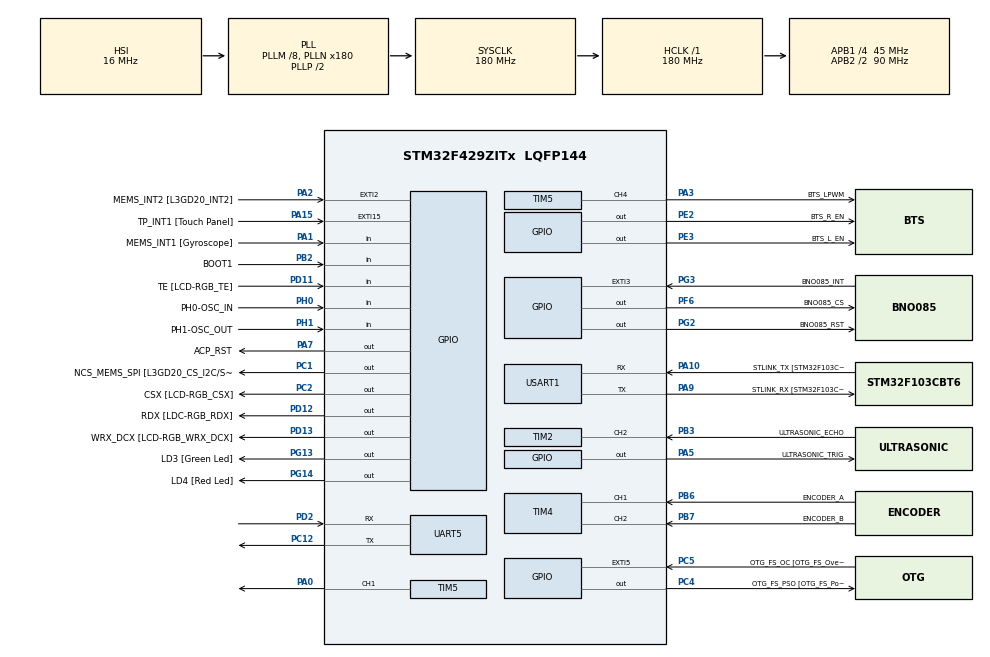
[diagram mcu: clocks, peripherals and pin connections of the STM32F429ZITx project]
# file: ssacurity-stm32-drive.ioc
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ADC1.Channel-13\#ChannelRegularConversion=ADC_CHANNEL_13
ADC1.ClockPrescaler=ADC_CLOCK_SYNC_PCLK_DIV4
ADC1.NbrOfConversionFlag=1
ADC1.Rank-13\#ChannelRegularConversion=1
ADC1.SamplingTime-13\#ChannelRegularConversion=ADC_SAMPLETIME_144CYCLES
Dma.Request0=USART1_TX
Dma.Request1=USART1_RX
Dma.Request2=UART5_RX
Dma.Request3=UART5_TX
Dma.UART5_RX.2.Direction=DMA_PERIPH_TO_MEMORY
Dma.UART5_RX.2.FIFOMode=DMA_FIFOMODE_DISABLE
Dma.UART5_RX.2.Instance=DMA1_Stream0
Dma.UART5_RX.2.MemDataAlignment=DMA_MDATAALIGN_BYTE
Dma.UART5_RX.2.MemInc=DMA_MINC_ENABLE
Dma.UART5_RX.2.Mode=DMA_CIRCULAR
Dma.UART5_RX.2.PeriphDataAlignment=DMA_PDATAALIGN_BYTE
Dma.UART5_RX.2.PeriphInc=DMA_PINC_DISABLE
Dma.UART5_RX.2.Priority=DMA_PRIORITY_LOW
Dma.UART5_TX.3.Direction=DMA_MEMORY_TO_PERIPH
Dma.UART5_TX.3.FIFOMode=DMA_FIFOMODE_DISABLE
Dma.UART5_TX.3.Instance=DMA1_Stream7
Dma.UART5_TX.3.MemDataAlignment=DMA_MDATAALIGN_BYTE
Dma.UART5_TX.3.MemInc=DMA_MINC_ENABLE
Dma.UART5_TX.3.Mode=DMA_NORMAL
Dma.UART5_TX.3.PeriphDataAlignment=DMA_PDATAALIGN_BYTE
Dma.UART5_TX.3.PeriphInc=DMA_PINC_DISABLE
Dma.UART5_TX.3.Priority=DMA_PRIORITY_LOW
Dma.USART1_RX.1.Direction=DMA_PERIPH_TO_MEMORY
Dma.USART1_RX.1.FIFOMode=DMA_FIFOMODE_DISABLE
Dma.USART1_RX.1.Instance=DMA2_Stream2
Dma.USART1_RX.1.MemDataAlignment=DMA_MDATAALIGN_BYTE
Dma.USART1_RX.1.MemInc=DMA_MINC_ENABLE
Dma.USART1_RX.1.Mode=DMA_CIRCULAR
Dma.USART1_RX.1.PeriphDataAlignment=DMA_PDATAALIGN_BYTE
Dma.USART1_RX.1.PeriphInc=DMA_PINC_DISABLE
Dma.USART1_RX.1.Priority=DMA_PRIORITY_LOW
Dma.USART1_TX.0.Direction=DMA_MEMORY_TO_PERIPH
Dma.USART1_TX.0.FIFOMode=DMA_FIFOMODE_DISABLE
Dma.USART1_TX.0.Instance=DMA2_Stream7
Dma.USART1_TX.0.MemDataAlignment=DMA_MDATAALIGN_BYTE
Dma.USART1_TX.0.MemInc=DMA_MINC_ENABLE
Dma.USART1_TX.0.Mode=DMA_NORMAL
Dma.USART1_TX.0.PeriphDataAlignment=DMA_PDATAALIGN_BYTE
Dma.USART1_TX.0.PeriphInc=DMA_PINC_DISABLE
Dma.USART1_TX.0.Priority=DMA_PRIORITY_LOW
FREERTOS.Tasks01=defaultTask,24,128,StartDefaultTask,Default,NULL,Dynamic,NULL,NULL
Mcu.Family=STM32F4
Mcu.Name=STM32F429ZITx
Mcu.Package=LQFP144
NVIC.DMA1_Stream0_IRQn=true\:5\:0\:false\:false\:true\:true\:false\:true\:true
NVIC.DMA1_Stream7_IRQn=true\:5\:0\:false\:false\:true\:true\:false\:true\:true
NVIC.DMA2_Stream2_IRQn=true\:5\:0\:false\:false\:true\:true\:false\:true\:true
NVIC.DMA2_Stream7_IRQn=true\:5\:0\:false\:false\:true\:true\:false\:true\:true
NVIC.EXTI3_IRQn=true\:6\:0\:false\:false\:true\:true\:true\:true\:true
NVIC.PriorityGroup=NVIC_PRIORITYGROUP_4
NVIC.TIM2_IRQn=true\:6\:0\:false\:false\:true\:true\:true\:true\:true
NVIC.TIM6_DAC_IRQn=true\:15\:0\:false\:false\:true\:false\:false\:true\:true
NVIC.TimeBase=TIM6_DAC_IRQn
NVIC.TimeBaseIP=TIM6
NVIC.UART5_IRQn=true\:5\:0\:false\:false\:true\:true\:true\:true\:true
NVIC.USART1_IRQn=true\:5\:0\:false\:false\:true\:true\:true\:true\:true
PA0/WKUP.Signal=S_TIM5_CH1
PA1.GPIO_Label=MEMS_INT1 [Gyroscope]
PA1.Signal=GPIO_Input
PA10.GPIO_Label=STLINK_TX [STM32F103CBT6_PA2]
PA10.Mode=Asynchronous
PA10.Signal=USART1_RX
PA11.GPIO_Label=R4
PA11.GPIO_Mode=GPIO_MODE_AF_PP
PA11.GPIO_PuPd=GPIO_NOPULL
PA11.GPIO_Speed=GPIO_SPEED_FREQ_LOW
PA11.Signal=LTDC_R4
PA12.GPIO_Label=R5
PA12.GPIO_Mode=GPIO_MODE_AF_PP
PA12.GPIO_PuPd=GPIO_NOPULL
PA12.GPIO_Speed=GPIO_SPEED_FREQ_LOW
PA12.Signal=LTDC_R5
PA13.GPIO_Label=SWDIO
PA13.Mode=Serial_Wire
PA13.Signal=SYS_JTMS-SWDIO
PA14.GPIO_Label=SWCLK
PA14.Mode=Serial_Wire
PA14.Signal=SYS_JTCK-SWCLK
PA15.GPIO_Label=TP_INT1 [Touch Panel]
PA15.GPIO_ModeDefaultEXTI=GPIO_MODE_EVT_RISING
PA15.GPIO_PuPd=GPIO_NOPULL
PA15.Signal=GPXTI15
PA2.GPIO_Label=MEMS_INT2 [L3GD20_INT2]
PA2.GPIO_ModeDefaultEXTI=GPIO_MODE_EVT_RISING
PA2.GPIO_PuPd=GPIO_NOPULL
PA2.Signal=GPXTI2
PA3.GPIO_Label=BTS_LPWM
PA3.Signal=S_TIM5_CH4
PA5.GPIO_Label=ULTRASONIC_TRIG
PA5.GPIO_Mode=GPIO_MODE_OUTPUT_PP
PA5.GPIO_PuPd=GPIO_NOPULL
PA5.GPIO_Speed=GPIO_SPEED_FREQ_LOW
PA5.Signal=GPIO_Output
PA4.GPIO_Label=VSYNC
PA4.GPIO_Mode=GPIO_MODE_AF_PP
PA4.GPIO_PuPd=GPIO_NOPULL
PA4.GPIO_Speed=GPIO_SPEED_FREQ_LOW
PA4.Signal=LTDC_VSYNC
PA7.GPIO_Label=ACP_RST
PA7.GPIO_Mode=GPIO_MODE_OUTPUT_PP
PA7.GPIO_PuPd=GPIO_NOPULL
PA7.GPIO_Speed=GPIO_SPEED_FREQ_LOW
PA7.Signal=GPIO_Output
PA8.GPIO_Label=I2C3_SCL [ACP/RF_SCL]
PA8.GPIO_Mode=GPIO_MODE_AF_OD
PA8.GPIO_PuPd=GPIO_NOPULL
PA8.GPIO_Speed=GPIO_SPEED_FREQ_LOW
PA8.Signal=I2C3_SCL
PA9.GPIO_Label=STLINK_RX [STM32F103CBT6_PA3]
PA9.Mode=Asynchronous
PA9.Signal=USART1_TX
PB0.GPIO_Label=R3
PB0.GPIO_Mode=GPIO_MODE_AF_PP
PB0.GPIO_PuPd=GPIO_NOPULL
PB0.GPIO_Speed=GPIO_SPEED_FREQ_LOW
PB0.Signal=LTDC_R3
PB1.GPIO_Label=R6
PB1.GPIO_Mode=GPIO_MODE_AF_PP
PB1.GPIO_PuPd=GPIO_NOPULL
PB1.GPIO_Speed=GPIO_SPEED_FREQ_LOW
PB1.Signal=LTDC_R6
PB10.GPIO_Label=G4
PB10.GPIO_Mode=GPIO_MODE_AF_PP
PB10.GPIO_PuPd=GPIO_NOPULL
PB10.GPIO_Speed=GPIO_SPEED_FREQ_LOW
PB10.Signal=LTDC_G4
PB11.GPIO_Label=G5
PB11.GPIO_Mode=GPIO_MODE_AF_PP
PB11.GPIO_PuPd=GPIO_NOPULL
PB11.GPIO_Speed=GPIO_SPEED_FREQ_LOW
PB11.Signal=LTDC_G5
PB12.GPIO_Label=OTG_HS_ID
PB12.GPIO_Mode=GPIO_MODE_AF_PP
PB12.GPIO_PuPd=GPIO_NOPULL
PB12.GPIO_Speed=GPIO_SPEED_FREQ_LOW
PB12.Signal=USB_OTG_HS_ID
PB13.GPIO_Label=VBUS_HS
PB13.GPIO_Mode=GPIO_MODE_INPUT
PB13.GPIO_PuPd=GPIO_NOPULL
PB13.Signal=USB_OTG_HS_VBUS
PB14.GPIO_Label=OTG_HS_DM
PB14.GPIO_Mode=GPIO_MODE_AF_PP
PB14.GPIO_PuPd=GPIO_NOPULL
PB14.GPIO_Speed=GPIO_SPEED_FREQ_LOW
PB14.Signal=USB_OTG_HS_DM
PB15.GPIO_Label=OTG_HS_DP
PB15.GPIO_Mode=GPIO_MODE_AF_PP
PB15.GPIO_PuPd=GPIO_NOPULL
PB15.GPIO_Speed=GPIO_SPEED_FREQ_LOW
PB15.Signal=USB_OTG_HS_DP
PB2/BOOT1.GPIO_Label=BOOT1
PB2/BOOT1.GPIO_Mode=GPIO_MODE_INPUT
PB2/BOOT1.GPIO_PuPd=GPIO_NOPULL
PB2/BOOT1.Signal=GPIO_Input
PB3.GPIO_Label=ULTRASONIC_ECHO
PB3.GPIO_PuPd=GPIO_NOPULL
PB3.Signal=S_TIM2_CH2
PB4.Signal=S_TIM3_CH1
PB5.GPIO_Label=SDCKE1
PB5.GPIO_Mode=GPIO_MODE_AF_PP
PB5.GPIO_PuPd=GPIO_NOPULL
PB5.GPIO_Speed=GPIO_SPEED_FREQ_VERY_HIGH
PB5.Signal=FMC_SDCKE1
PB6.GPIO_Label=ENCODER_A
PB6.Signal=S_TIM4_CH1
PB7.GPIO_Label=ENCODER_B
PB7.Signal=S_TIM4_CH2
PB8.GPIO_Label=B6
PB8.GPIO_Mode=GPIO_MODE_AF_PP
PB8.GPIO_PuPd=GPIO_NOPULL
PB8.GPIO_Speed=GPIO_SPEED_FREQ_LOW
PB8.Signal=LTDC_B6
PB9.GPIO_Label=B7
PB9.GPIO_Mode=GPIO_MODE_AF_PP
PB9.GPIO_PuPd=GPIO_NOPULL
PB9.GPIO_Speed=GPIO_SPEED_FREQ_LOW
PB9.Signal=LTDC_B7
PC0.GPIO_Label=SDNWE
PC0.GPIO_Mode=GPIO_MODE_AF_PP
PC0.GPIO_PuPd=GPIO_NOPULL
PC0.GPIO_Speed=GPIO_SPEED_FREQ_VERY_HIGH
PC0.Signal=FMC_SDNWE
PC1.GPIO_Label=NCS_MEMS_SPI [L3GD20_CS_I2C/SPI]
PC1.GPIO_Mode=GPIO_MODE_OUTPUT_PP
PC1.GPIO_PuPd=GPIO_NOPULL
PC1.GPIO_Speed=GPIO_SPEED_FREQ_LOW
PC1.Signal=GPIO_Output
PC10.GPIO_Label=R2
PC10.GPIO_Mode=GPIO_MODE_AF_PP
PC10.GPIO_PuPd=GPIO_NOPULL
PC10.GPIO_Speed=GPIO_SPEED_FREQ_LOW
PC10.Signal=LTDC_R2
PC12.Mode=Asynchronous
PC12.Signal=UART5_TX
PC14/OSC32_IN.GPIO_Label=PC14-OSC32_IN
PC14/OSC32_IN.Signal=RCC_OSC32_IN
PC15/OSC32_OUT.GPIO_Label=PC15-OSC32_OUT
PC15/OSC32_OUT.Signal=RCC_OSC32_OUT
PC2.GPIO_Label=CSX [LCD-RGB_CSX]
PC2.GPIO_Mode=GPIO_MODE_OUTPUT_PP
PC2.GPIO_PuPd=GPIO_NOPULL
PC2.GPIO_Speed=GPIO_SPEED_FREQ_LOW
PC2.Signal=GPIO_Output
PC3.GPIO_Label=STEERING_ANGLE
PC3.Signal=ADCx_IN13
PC4.GPIO_Label=OTG_FS_PSO [OTG_FS_PowerSwitchOn]
PC4.GPIO_Mode=GPIO_MODE_OUTPUT_PP
PC4.GPIO_PuPd=GPIO_NOPULL
PC4.GPIO_Speed=GPIO_SPEED_FREQ_LOW
PC4.Signal=GPIO_Output
PC5.GPIO_Label=OTG_FS_OC [OTG_FS_OverCurrent]
PC5.GPIO_ModeDefaultEXTI=GPIO_MODE_EVT_RISING
PC5.Signal=GPXTI5
PC6.GPIO_Label=HSYNC
PC6.GPIO_Mode=GPIO_MODE_AF_PP
PC6.GPIO_PuPd=GPIO_NOPULL
PC6.GPIO_Speed=GPIO_SPEED_FREQ_LOW
PC6.Signal=LTDC_HSYNC
PC7.GPIO_Label=G6
PC7.GPIO_Mode=GPIO_MODE_AF_PP
PC7.GPIO_PuPd=GPIO_NOPULL
PC7.GPIO_Speed=GPIO_SPEED_FREQ_LOW
PC7.Signal=LTDC_G6
PC9.GPIO_Label=I2C3_SDA [ACP/RF_SDA]
PC9.GPIO_Mode=GPIO_MODE_AF_OD
PC9.GPIO_PuPd=GPIO_NOPULL
PC9.GPIO_Speed=GPIO_SPEED_FREQ_LOW
PC9.Signal=I2C3_SDA
PD0.GPIO_Label=D2
PD0.GPIO_Mode=GPIO_MODE_AF_PP
PD0.GPIO_PuPd=GPIO_NOPULL
PD0.GPIO_Speed=GPIO_SPEED_FREQ_VERY_HIGH
PD0.Signal=FMC_D2_DA2
PD1.GPIO_Label=D3
PD1.GPIO_Mode=GPIO_MODE_AF_PP
PD1.GPIO_PuPd=GPIO_NOPULL
PD1.GPIO_Speed=GPIO_SPEED_FREQ_VERY_HIGH
PD1.Signal=FMC_D3_DA3
PD10.GPIO_Label=D15
PD10.GPIO_Mode=GPIO_MODE_AF_PP
PD10.GPIO_PuPd=GPIO_NOPULL
PD10.GPIO_Speed=GPIO_SPEED_FREQ_VERY_HIGH
PD10.Signal=FMC_D15_DA15
PD11.GPIO_Label=TE [LCD-RGB_TE]
PD11.GPIO_Mode=GPIO_MODE_INPUT
PD11.GPIO_PuPd=GPIO_NOPULL
PD11.Signal=GPIO_Input
PD12.GPIO_Label=RDX [LDC-RGB_RDX]
PD12.GPIO_Mode=GPIO_MODE_OUTPUT_PP
PD12.GPIO_PuPd=GPIO_NOPULL
PD12.GPIO_Speed=GPIO_SPEED_FREQ_LOW
PD12.Signal=GPIO_Output
PD13.GPIO_Label=WRX_DCX [LCD-RGB_WRX_DCX]
PD13.GPIO_Mode=GPIO_MODE_OUTPUT_PP
PD13.GPIO_PuPd=GPIO_NOPULL
PD13.GPIO_Speed=GPIO_SPEED_FREQ_LOW
PD13.Signal=GPIO_Output
PD14.GPIO_Label=D0
PD14.GPIO_Mode=GPIO_MODE_AF_PP
PD14.GPIO_PuPd=GPIO_NOPULL
PD14.GPIO_Speed=GPIO_SPEED_FREQ_VERY_HIGH
PD14.Signal=FMC_D0_DA0
PD15.GPIO_Label=D1
PD15.GPIO_Mode=GPIO_MODE_AF_PP
PD15.GPIO_PuPd=GPIO_NOPULL
PD15.GPIO_Speed=GPIO_SPEED_FREQ_VERY_HIGH
PD15.Signal=FMC_D1_DA1
PD2.Mode=Asynchronous
PD2.Signal=UART5_RX
PD3.GPIO_Label=G7
PD3.GPIO_Mode=GPIO_MODE_AF_PP
PD3.GPIO_PuPd=GPIO_NOPULL
PD3.GPIO_Speed=GPIO_SPEED_FREQ_LOW
PD3.Signal=LTDC_G7
PD6.GPIO_Label=B2
PD6.GPIO_Mode=GPIO_MODE_AF_PP
PD6.GPIO_PuPd=GPIO_NOPULL
PD6.GPIO_Speed=GPIO_SPEED_FREQ_LOW
PD6.Signal=LTDC_B2
PD8.GPIO_Label=D13
PD8.GPIO_Mode=GPIO_MODE_AF_PP
PD8.GPIO_PuPd=GPIO_NOPULL
PD8.GPIO_Speed=GPIO_SPEED_FREQ_VERY_HIGH
PD8.Signal=FMC_D13_DA13
PD9.GPIO_Label=D14
PD9.GPIO_Mode=GPIO_MODE_AF_PP
PD9.GPIO_PuPd=GPIO_NOPULL
PD9.GPIO_Speed=GPIO_SPEED_FREQ_VERY_HIGH
PD9.Signal=FMC_D14_DA14
PE0.GPIO_Label=NBL0 [SDRAM_LDQM]
PE0.GPIO_Mode=GPIO_MODE_AF_PP
PE0.GPIO_PuPd=GPIO_NOPULL
PE0.GPIO_Speed=GPIO_SPEED_FREQ_VERY_HIGH
PE0.Signal=FMC_NBL0
PE1.GPIO_Label=NBL1 [SDRAM_UDQM]
PE1.GPIO_Mode=GPIO_MODE_AF_PP
PE1.GPIO_PuPd=GPIO_NOPULL
PE1.GPIO_Speed=GPIO_SPEED_FREQ_VERY_HIGH
PE1.Signal=FMC_NBL1
PE2.GPIO_Label=BTS_R_EN
PE2.GPIO_Mode=GPIO_MODE_OUTPUT_PP
PE2.GPIO_PuPd=GPIO_NOPULL
PE2.GPIO_Speed=GPIO_SPEED_FREQ_LOW
PE2.Signal=GPIO_Output
PE3.GPIO_Label=BTS_L_EN
PE3.GPIO_Mode=GPIO_MODE_OUTPUT_PP
PE3.GPIO_PuPd=GPIO_NOPULL
PE3.GPIO_Speed=GPIO_SPEED_FREQ_LOW
PE3.Signal=GPIO_Output
PE10.GPIO_Label=D7
PE10.GPIO_Mode=GPIO_MODE_AF_PP
PE10.GPIO_PuPd=GPIO_NOPULL
PE10.GPIO_Speed=GPIO_SPEED_FREQ_VERY_HIGH
PE10.Signal=FMC_D7_DA7
PE11.GPIO_Label=D8
PE11.GPIO_Mode=GPIO_MODE_AF_PP
PE11.GPIO_PuPd=GPIO_NOPULL
PE11.GPIO_Speed=GPIO_SPEED_FREQ_VERY_HIGH
PE11.Signal=FMC_D8_DA8
PE12.GPIO_Label=D9
PE12.GPIO_Mode=GPIO_MODE_AF_PP
PE12.GPIO_PuPd=GPIO_NOPULL
PE12.GPIO_Speed=GPIO_SPEED_FREQ_VERY_HIGH
PE12.Signal=FMC_D9_DA9
PE13.GPIO_Label=D10
PE13.GPIO_Mode=GPIO_MODE_AF_PP
PE13.GPIO_PuPd=GPIO_NOPULL
PE13.GPIO_Speed=GPIO_SPEED_FREQ_VERY_HIGH
PE13.Signal=FMC_D10_DA10
PE14.GPIO_Label=D11
PE14.GPIO_Mode=GPIO_MODE_AF_PP
PE14.GPIO_PuPd=GPIO_NOPULL
PE14.GPIO_Speed=GPIO_SPEED_FREQ_VERY_HIGH
PE14.Signal=FMC_D11_DA11
PE15.GPIO_Label=D12
PE15.GPIO_Mode=GPIO_MODE_AF_PP
PE15.GPIO_PuPd=GPIO_NOPULL
PE15.GPIO_Speed=GPIO_SPEED_FREQ_VERY_HIGH
PE15.Signal=FMC_D12_DA12
PE7.GPIO_Label=D4
PE7.GPIO_Mode=GPIO_MODE_AF_PP
PE7.GPIO_PuPd=GPIO_NOPULL
PE7.GPIO_Speed=GPIO_SPEED_FREQ_VERY_HIGH
PE7.Signal=FMC_D4_DA4
PE8.GPIO_Label=D5
PE8.GPIO_Mode=GPIO_MODE_AF_PP
PE8.GPIO_PuPd=GPIO_NOPULL
PE8.GPIO_Speed=GPIO_SPEED_FREQ_VERY_HIGH
PE8.Signal=FMC_D5_DA5
PE9.GPIO_Label=D6
PE9.GPIO_Mode=GPIO_MODE_AF_PP
PE9.GPIO_PuPd=GPIO_NOPULL
PE9.GPIO_Speed=GPIO_SPEED_FREQ_VERY_HIGH
PE9.Signal=FMC_D6_DA6
PF0.GPIO_Label=A0
PF0.GPIO_Mode=GPIO_MODE_AF_PP
PF0.GPIO_PuPd=GPIO_NOPULL
PF0.GPIO_Speed=GPIO_SPEED_FREQ_VERY_HIGH
PF0.Signal=FMC_A0
PF1.GPIO_Label=A1
PF1.GPIO_Mode=GPIO_MODE_AF_PP
PF1.GPIO_PuPd=GPIO_NOPULL
PF1.GPIO_Speed=GPIO_SPEED_FREQ_VERY_HIGH
PF1.Signal=FMC_A1
PF10.GPIO_Label=ENABLE [LCD-RGB_ENABLE]
PF10.GPIO_Mode=GPIO_MODE_AF_PP
PF10.GPIO_PuPd=GPIO_NOPULL
PF10.GPIO_Speed=GPIO_SPEED_FREQ_LOW
PF10.Signal=LTDC_DE
PF11.GPIO_Label=SDNRAS
PF11.GPIO_Mode=GPIO_MODE_AF_PP
PF11.GPIO_PuPd=GPIO_NOPULL
PF11.GPIO_Speed=GPIO_SPEED_FREQ_VERY_HIGH
PF11.Signal=FMC_SDNRAS
PF12.GPIO_Label=A6
PF12.GPIO_Mode=GPIO_MODE_AF_PP
PF12.GPIO_PuPd=GPIO_NOPULL
PF12.GPIO_Speed=GPIO_SPEED_FREQ_VERY_HIGH
PF12.Signal=FMC_A6
PF13.GPIO_Label=A7
PF13.GPIO_Mode=GPIO_MODE_AF_PP
PF13.GPIO_PuPd=GPIO_NOPULL
PF13.GPIO_Speed=GPIO_SPEED_FREQ_VERY_HIGH
PF13.Signal=FMC_A7
PF14.GPIO_Label=A8
PF14.GPIO_Mode=GPIO_MODE_AF_PP
PF14.GPIO_PuPd=GPIO_NOPULL
PF14.GPIO_Speed=GPIO_SPEED_FREQ_VERY_HIGH
PF14.Signal=FMC_A8
PF15.GPIO_Label=A9
PF15.GPIO_Mode=GPIO_MODE_AF_PP
PF15.GPIO_PuPd=GPIO_NOPULL
PF15.GPIO_Speed=GPIO_SPEED_FREQ_VERY_HIGH
PF15.Signal=FMC_A9
PF2.GPIO_Label=A2
PF2.GPIO_Mode=GPIO_MODE_AF_PP
PF2.GPIO_PuPd=GPIO_NOPULL
PF2.GPIO_Speed=GPIO_SPEED_FREQ_VERY_HIGH
PF2.Signal=FMC_A2
PF3.GPIO_Label=A3
PF3.GPIO_Mode=GPIO_MODE_AF_PP
PF3.GPIO_PuPd=GPIO_NOPULL
PF3.GPIO_Speed=GPIO_SPEED_FREQ_VERY_HIGH
PF3.Signal=FMC_A3
PF4.GPIO_Label=A4
PF4.GPIO_Mode=GPIO_MODE_AF_PP
PF4.GPIO_PuPd=GPIO_NOPULL
PF4.GPIO_Speed=GPIO_SPEED_FREQ_VERY_HIGH
PF4.Signal=FMC_A4
PF5.GPIO_Label=A5
PF5.GPIO_Mode=GPIO_MODE_AF_PP
PF5.GPIO_PuPd=GPIO_NOPULL
PF5.GPIO_Speed=GPIO_SPEED_FREQ_VERY_HIGH
PF5.Signal=FMC_A5
PF6.GPIO_Label=BNO085_CS
PF6.GPIO_Mode=GPIO_MODE_OUTPUT_PP
PF6.GPIO_PuPd=GPIO_NOPULL
PF6.GPIO_Speed=GPIO_SPEED_FREQ_VERY_HIGH
PF6.Signal=GPIO_Output
PF7.GPIO_Label=SPI5_SCK [BNO085_SCL, L3GD20_SCL/SPC]
PF7.GPIO_Mode=GPIO_MODE_AF_PP
PF7.GPIO_PuPd=GPIO_NOPULL
PF7.GPIO_Speed=GPIO_SPEED_FREQ_VERY_HIGH
PF7.Signal=SPI5_SCK
PF8.GPIO_Label=SPI5_MISO [BNO085_SDA, L3GD20_SDO]
PF8.GPIO_Mode=GPIO_MODE_AF_PP
PF8.GPIO_PuPd=GPIO_NOPULL
PF8.GPIO_Speed=GPIO_SPEED_FREQ_VERY_HIGH
PF8.Signal=SPI5_MISO
PF9.GPIO_Label=SPI5_MOSI [BNO085_ADO, L3GD20_SDA/SDI/SDO]
PF9.GPIO_Mode=GPIO_MODE_AF_PP
PF9.GPIO_PuPd=GPIO_NOPULL
PF9.GPIO_Speed=GPIO_SPEED_FREQ_VERY_HIGH
PF9.Signal=SPI5_MOSI
PG0.GPIO_Label=A10
PG0.GPIO_Mode=GPIO_MODE_AF_PP
PG0.GPIO_PuPd=GPIO_NOPULL
PG0.GPIO_Speed=GPIO_SPEED_FREQ_VERY_HIGH
PG0.Signal=FMC_A10
PG1.GPIO_Label=A11
PG1.GPIO_Mode=GPIO_MODE_AF_PP
PG1.GPIO_PuPd=GPIO_NOPULL
PG1.GPIO_Speed=GPIO_SPEED_FREQ_VERY_HIGH
PG1.Signal=FMC_A11
PG2.GPIO_Label=BNO085_RST
PG2.GPIO_Mode=GPIO_MODE_OUTPUT_PP
PG2.GPIO_PuPd=GPIO_NOPULL
PG2.GPIO_Speed=GPIO_SPEED_FREQ_LOW
PG2.Signal=GPIO_Output
PG3.GPIO_Label=BNO085_INT
PG3.GPIO_ModeDefaultEXTI=GPIO_MODE_IT_FALLING
PG3.GPIO_PuPd=GPIO_PULLUP
PG3.Signal=GPXTI3
PG10.GPIO_Label=G3
PG10.GPIO_Mode=GPIO_MODE_AF_PP
PG10.GPIO_PuPd=GPIO_NOPULL
PG10.GPIO_Speed=GPIO_SPEED_FREQ_LOW
PG10.Signal=LTDC_G3
PG11.GPIO_Label=B3
PG11.GPIO_Mode=GPIO_MODE_AF_PP
PG11.GPIO_PuPd=GPIO_NOPULL
PG11.GPIO_Speed=GPIO_SPEED_FREQ_LOW
PG11.Signal=LTDC_B3
PG12.GPIO_Label=B4
PG12.GPIO_Mode=GPIO_MODE_AF_PP
PG12.GPIO_PuPd=GPIO_NOPULL
PG12.GPIO_Speed=GPIO_SPEED_FREQ_LOW
PG12.Signal=LTDC_B4
PG13.GPIO_Label=LD3 [Green Led]
PG13.GPIO_Mode=GPIO_MODE_OUTPUT_PP
PG13.GPIO_PuPd=GPIO_NOPULL
PG13.GPIO_Speed=GPIO_SPEED_FREQ_LOW
PG13.Signal=GPIO_Output
PG14.GPIO_Label=LD4 [Red Led]
PG14.GPIO_Mode=GPIO_MODE_OUTPUT_PP
PG14.GPIO_PuPd=GPIO_NOPULL
PG14.GPIO_Speed=GPIO_SPEED_FREQ_LOW
PG14.Signal=GPIO_Output
PG15.GPIO_Label=SDNCAS
PG15.GPIO_Mode=GPIO_MODE_AF_PP
PG15.GPIO_PuPd=GPIO_NOPULL
PG15.GPIO_Speed=GPIO_SPEED_FREQ_VERY_HIGH
PG15.Signal=FMC_SDNCAS
PG4.GPIO_Label=BA0
PG4.GPIO_Mode=GPIO_MODE_AF_PP
PG4.GPIO_PuPd=GPIO_NOPULL
PG4.GPIO_Speed=GPIO_SPEED_FREQ_VERY_HIGH
PG4.Signal=FMC_A14_BA0
PG5.GPIO_Label=BA1
PG5.GPIO_Mode=GPIO_MODE_AF_PP
PG5.GPIO_PuPd=GPIO_NOPULL
PG5.GPIO_Speed=GPIO_SPEED_FREQ_VERY_HIGH
PG5.Signal=FMC_A15_BA1
PG6.GPIO_Label=R7
PG6.GPIO_Mode=GPIO_MODE_AF_PP
PG6.GPIO_PuPd=GPIO_NOPULL
PG6.GPIO_Speed=GPIO_SPEED_FREQ_LOW
PG6.Signal=LTDC_R7
PG7.GPIO_Label=DOTCLK [LCT-RGB_DOTCLK]
PG7.GPIO_Mode=GPIO_MODE_AF_PP
PG7.GPIO_PuPd=GPIO_NOPULL
PG7.GPIO_Speed=GPIO_SPEED_FREQ_LOW
PG7.Signal=LTDC_CLK
PG8.GPIO_Label=SDCLK
PG8.GPIO_Mode=GPIO_MODE_AF_PP
PG8.GPIO_PuPd=GPIO_NOPULL
PG8.GPIO_Speed=GPIO_SPEED_FREQ_VERY_HIGH
PG8.Signal=FMC_SDCLK
PH0/OSC_IN.GPIO_Label=PH0-OSC_IN
PH0/OSC_IN.Signal=GPIO_Input
PH1/OSC_OUT.GPIO_Label=PH1-OSC_OUT
PH1/OSC_OUT.Signal=GPIO_Input
ProjectManager.HeapSize=0x200
ProjectManager.StackSize=0x400
ProjectManager.TargetToolchain=STM32CubeIDE
RCC.48MHZClocksFreq_Value=51428571.428571425
RCC.AHBFreq_Value=180000000
RCC.APB1CLKDivider=RCC_HCLK_DIV4
RCC.APB1Freq_Value=45000000
RCC.APB1TimFreq_Value=90000000
RCC.APB2CLKDivider=RCC_HCLK_DIV2
RCC.APB2Freq_Value=90000000
RCC.APB2TimFreq_Value=180000000
RCC.CortexFreq_Value=180000000
RCC.HCLKFreq_Value=180000000
RCC.HSE_VALUE=8000000
RCC.HSI_VALUE=16000000
RCC.LSE_VALUE=32768
RCC.PLLM=8
RCC.PLLN=180
RCC.PLLQ=7
RCC.PLLSourceVirtual=RCC_PLLSOURCE_HSI
RCC.SYSCLKFreq_VALUE=180000000
RCC.SYSCLKSource=RCC_SYSCLKSOURCE_PLLCLK
RCC.VCOOutputFreq_Value=360000000
SPI5.BaudRatePrescaler=SPI_BAUDRATEPRESCALER_32
SPI5.CalculateBaudRate=2.8125 MBits/s
SPI5.CLKPhase=SPI_PHASE_2EDGE
SPI5.CLKPolarity=SPI_POLARITY_HIGH
SPI5.DataSize=SPI_DATASIZE_8BIT
SPI5.Direction=SPI_DIRECTION_2LINES
SPI5.FirstBit=SPI_FIRSTBIT_MSB
SPI5.Mode=SPI_MODE_MASTER
SPI5.NSS=SPI_NSS_SOFT
SPI5.VirtualType=VM_MASTER
SH.FMC_A0.0=FMC_A0
SH.FMC_A1.0=FMC_A1
SH.FMC_A10.0=FMC_A10
SH.FMC_A11.0=FMC_A11
SH.FMC_A14_BA0.0=FMC_BA0
SH.FMC_A15_BA1.0=FMC_BA1
SH.FMC_A2.0=FMC_A2
SH.FMC_A3.0=FMC_A3
SH.FMC_A4.0=FMC_A4
SH.FMC_A5.0=FMC_A5
SH.FMC_A6.0=FMC_A6
SH.FMC_A7.0=FMC_A7
SH.FMC_A8.0=FMC_A8
SH.FMC_A9.0=FMC_A9
SH.FMC_D0_DA0.0=FMC_D0
SH.FMC_D10_DA10.0=FMC_D10
SH.FMC_D11_DA11.0=FMC_D11
SH.FMC_D12_DA12.0=FMC_D12
SH.FMC_D13_DA13.0=FMC_D13
SH.FMC_D14_DA14.0=FMC_D14
SH.FMC_D15_DA15.0=FMC_D15
SH.FMC_D1_DA1.0=FMC_D1
SH.FMC_D2_DA2.0=FMC_D2
SH.FMC_D3_DA3.0=FMC_D3
SH.FMC_D4_DA4.0=FMC_D4
SH.FMC_D5_DA5.0=FMC_D5
SH.FMC_D6_DA6.0=FMC_D6
SH.FMC_D7_DA7.0=FMC_D7
SH.FMC_D8_DA8.0=FMC_D8
SH.FMC_D9_DA9.0=FMC_D9
SH.FMC_NBL0.0=FMC_NBL0
SH.FMC_NBL1.0=FMC_NBL1
SH.FMC_SDCLK.0=FMC_SDCLK
SH.FMC_SDNCAS.0=FMC_SDNCAS
SH.FMC_SDNRAS.0=FMC_SDNRAS
SH.FMC_SDNWE.0=FMC_SDNWE
SH.S_TIM2_CH2.0=TIM2_CH2,Input_Capture2_from_TI2
SH.S_TIM3_CH1.0=TIM3_CH1
SH.S_TIM4_CH1.0=TIM4_CH1,Encoder_Interface
SH.S_TIM4_CH2.0=TIM4_CH2,Encoder_Interface
SH.S_TIM5_CH1.0=TIM5_CH1,PWM Generation1 CH1
SH.S_TIM5_CH4.0=TIM5_CH4,PWM Generation4 CH4
TIM2.Channel-Input_Capture2_from_TI2=TIM_CHANNEL_2
TIM2.Period=4294967295
TIM2.Prescaler=89
TIM3.Channel-PWM\ Generation1\ CH1=TIM_CHANNEL_1
TIM3.Period=19999
TIM3.Prescaler=89
TIM3.Pulse-PWM\ Generation1\ CH1=1231
TIM4.EncoderMode=TIM_ENCODERMODE_TI12
TIM5.Channel-PWM\ Generation1\ CH1=TIM_CHANNEL_1
TIM5.Channel-PWM\ Generation4\ CH4=TIM_CHANNEL_4
TIM5.Period=499
TIM5.Prescaler=8
UART5.VirtualMode=VM_ASYNC
USART1.VirtualMode=VM_ASYNC
VP_FREERTOS_VS_CMSIS_V2.Mode=CMSIS_V2
VP_SYS_VS_tim6.Mode=TIM6
VP_TIM2_VS_ClockSourceINT.Mode=Internal
VP_TIM3_VS_ClockSourceINT.Mode=Internal
VP_TIM5_VS_ClockSourceINT.Mode=Internal
board=STM32F429I-DISC1

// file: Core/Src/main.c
/* USER CODE BEGIN Header */
/**
  ******************************************************************************
  * @file           : main.c
  * @brief          : Main program body
  ******************************************************************************
  * @attention
  *
  * Copyright (c) 2026 STMicroelectronics.
  * All rights reserved.
  *
  * This software is licensed under terms that can be found in the LICENSE file
  * in the root directory of this software component.
  * If no LICENSE file comes with this software, it is provided AS-IS.
  *
  ******************************************************************************
  */
/* USER CODE END Header */
#include "main.h"
#include "cmsis_os.h"

/* USER CODE BEGIN Includes */
#include "app_freertos.h"
#include "comm_service.h"
#include "task_imu.h"
#include "ultrasonic.h"
#include "vehicle_config.h"

/* USER CODE END Includes */

ADC_HandleTypeDef hadc1;

SPI_HandleTypeDef hspi5;

TIM_HandleTypeDef htim2;
TIM_HandleTypeDef htim3;
TIM_HandleTypeDef htim4;
TIM_HandleTypeDef htim5;

UART_HandleTypeDef huart1;
DMA_HandleTypeDef hdma_usart1_tx;
DMA_HandleTypeDef hdma_usart1_rx;
UART_HandleTypeDef huart5;
DMA_HandleTypeDef hdma_uart5_rx;
DMA_HandleTypeDef hdma_uart5_tx;

/* Definitions for defaultTask */
osThreadId_t defaultTaskHandle;
const osThreadAttr_t defaultTask_attributes = {
  .name = "defaultTask",
  .stack_size = 128 * 4,
  .priority = (osPriority_t) osPriorityLow,
};

void SystemClock_Config(void);
static void MX_GPIO_Init(void);
static void MX_DMA_Init(void);
static void MX_USART1_UART_Init(void);
static void MX_UART5_Init(void);
static void MX_ADC1_Init(void);
static void MX_SPI5_Init(void);
static void MX_TIM2_Init(void);
static void MX_TIM3_Init(void);
static void MX_TIM4_Init(void);
static void MX_TIM5_Init(void);
void StartDefaultTask(void *argument);

int main(void)
{

  /* MCU Configuration--------------------------------------------------------*/

  /* Reset of all peripherals, Initializes the Flash interface and the Systick. */
  HAL_Init();

  /* Configure the system clock */
  SystemClock_Config();

  /* Initialize all configured peripherals */
  MX_GPIO_Init();
  MX_DMA_Init();
  MX_USART1_UART_Init();
  MX_UART5_Init();
  MX_ADC1_Init();
  MX_SPI5_Init();
  MX_TIM2_Init();
  MX_TIM3_Init();
  MX_TIM4_Init();
  MX_TIM5_Init();

  /* USER CODE BEGIN 2 */
  /*
   * Jetson protocol V3.0: UART5 is routed to PC12 TX / PD2 RX.
   * USART1 is routed through the on-board ST-LINK VCP for bench calibration.
   * Select the active transport in vehicle_config.h.
   */

#if VEHICLE_COMM_USE_STLINK_VCP
  if (!CommService_Init(&huart1))
#else
  if (!CommService_Init(&huart5))
#endif
  {
    Error_Handler();
  }

  /* USER CODE END 2 */

  /* Init scheduler */
  osKernelInitialize();

  /* Create the thread(s) */
  /* creation of defaultTask */
  defaultTaskHandle = osThreadNew(StartDefaultTask, NULL, &defaultTask_attributes);

  /* USER CODE BEGIN RTOS_THREADS */
  App_FreeRTOS_Init();
  /* USER CODE END RTOS_THREADS */

  /* Start scheduler */
  osKernelStart();

  /* We should never get here as control is now taken by the scheduler */

  /* Infinite loop */
  while (1)
  {

    /* USER CODE BEGIN 3 */
    /* Execution is owned by FreeRTOS after osKernelStart(). */
  }
  /* USER CODE END 3 */
}

void SystemClock_Config(void)
{
  RCC_OscInitTypeDef RCC_OscInitStruct = {0};
  RCC_ClkInitTypeDef RCC_ClkInitStruct = {0};

  /** Configure the main internal regulator output voltage
  */
  __HAL_RCC_PWR_CLK_ENABLE();
  __HAL_PWR_VOLTAGESCALING_CONFIG(PWR_REGULATOR_VOLTAGE_SCALE1);

  /** Initializes the RCC Oscillators according to the specified parameters
  * in the RCC_OscInitTypeDef structure.
  */
  /*
   * This board does not currently receive the 8 MHz ST-LINK MCO on OSC_IN.
   * HSE bypass therefore never asserts HSERDY and HAL_RCC_OscConfig() times
   * out before the RTOS and UART are started.  Use the internal 16 MHz HSI
   * as the PLL source while keeping the requested 180 MHz system clock.
   */
  RCC_OscInitStruct.OscillatorType = RCC_OSCILLATORTYPE_HSI;
  RCC_OscInitStruct.HSIState = RCC_HSI_ON;
  RCC_OscInitStruct.HSICalibrationValue = RCC_HSICALIBRATION_DEFAULT;
  RCC_OscInitStruct.PLL.PLLState = RCC_PLL_ON;
  RCC_OscInitStruct.PLL.PLLSource = RCC_PLLSOURCE_HSI;
  RCC_OscInitStruct.PLL.PLLM = 8;
  RCC_OscInitStruct.PLL.PLLN = 180;
  RCC_OscInitStruct.PLL.PLLP = RCC_PLLP_DIV2;
  RCC_OscInitStruct.PLL.PLLQ = 7;
  if (HAL_RCC_OscConfig(&RCC_OscInitStruct) != HAL_OK)
  {
    Error_Handler();
  }

  /** Activate the Over-Drive mode
  */
  if (HAL_PWREx_EnableOverDrive() != HAL_OK)
  {
    Error_Handler();
  }

  /** Initializes the CPU, AHB and APB buses clocks
  */
  RCC_ClkInitStruct.ClockType = RCC_CLOCKTYPE_HCLK|RCC_CLOCKTYPE_SYSCLK
                              |RCC_CLOCKTYPE_PCLK1|RCC_CLOCKTYPE_PCLK2;
  RCC_ClkInitStruct.SYSCLKSource = RCC_SYSCLKSOURCE_PLLCLK;
  RCC_ClkInitStruct.AHBCLKDivider = RCC_SYSCLK_DIV1;
  RCC_ClkInitStruct.APB1CLKDivider = RCC_HCLK_DIV4;
  RCC_ClkInitStruct.APB2CLKDivider = RCC_HCLK_DIV2;

  if (HAL_RCC_ClockConfig(&RCC_ClkInitStruct, FLASH_LATENCY_5) != HAL_OK)
  {
    Error_Handler();
  }
}

static void MX_ADC1_Init(void)
{
  ADC_ChannelConfTypeDef sConfig = {0};

  /*
   * PC3 / ADC1_IN13 reads the PP-A818/AS5600 analog output.
   * PCLK2 is 90 MHz; DIV4 gives a 22.5 MHz ADC clock, below the
   * STM32F429 36 MHz maximum.  A long sample time gives the external
   * sensor output enough acquisition time without DMA or interrupts.
   */
  hadc1.Instance = ADC1;
  hadc1.Init.ClockPrescaler = ADC_CLOCK_SYNC_PCLK_DIV4;
  hadc1.Init.Resolution = ADC_RESOLUTION_12B;
  hadc1.Init.ScanConvMode = DISABLE;
  hadc1.Init.ContinuousConvMode = DISABLE;
  hadc1.Init.DiscontinuousConvMode = DISABLE;
  hadc1.Init.ExternalTrigConvEdge = ADC_EXTERNALTRIGCONVEDGE_NONE;
  hadc1.Init.ExternalTrigConv = ADC_SOFTWARE_START;
  hadc1.Init.DataAlign = ADC_DATAALIGN_RIGHT;
  hadc1.Init.NbrOfConversion = 1;
  hadc1.Init.DMAContinuousRequests = DISABLE;
  hadc1.Init.EOCSelection = ADC_EOC_SINGLE_CONV;
  if (HAL_ADC_Init(&hadc1) != HAL_OK)
  {
    Error_Handler();
  }

  sConfig.Channel = ADC_CHANNEL_13;
  sConfig.Rank = 1;
  sConfig.SamplingTime = ADC_SAMPLETIME_144CYCLES;
  if (HAL_ADC_ConfigChannel(&hadc1, &sConfig) != HAL_OK)
  {
    Error_Handler();
  }
}

static void MX_SPI5_Init(void)
{
  /*
   * BNO085 SPI: mode 3, MSB first, maximum 3 MHz.
   * SPI5 uses the 90 MHz APB2 clock; /32 gives 2.8125 MHz.
   * Chip select is software-controlled on PF6 so SPI5 can remain shared
   * with the disabled on-board L3GD20 (PC1 held high).
   */
  hspi5.Instance = SPI5;
  hspi5.Init.Mode = SPI_MODE_MASTER;
  hspi5.Init.Direction = SPI_DIRECTION_2LINES;
  hspi5.Init.DataSize = SPI_DATASIZE_8BIT;
  hspi5.Init.CLKPolarity = SPI_POLARITY_HIGH;
  hspi5.Init.CLKPhase = SPI_PHASE_2EDGE;
  hspi5.Init.NSS = SPI_NSS_SOFT;
  hspi5.Init.BaudRatePrescaler = SPI_BAUDRATEPRESCALER_32;
  hspi5.Init.FirstBit = SPI_FIRSTBIT_MSB;
  hspi5.Init.TIMode = SPI_TIMODE_DISABLE;
  hspi5.Init.CRCCalculation = SPI_CRCCALCULATION_DISABLE;
  hspi5.Init.CRCPolynomial = 10;
  if (HAL_SPI_Init(&hspi5) != HAL_OK)
  {
    Error_Handler();
  }
}

static void MX_TIM2_Init(void)
{

  TIM_ClockConfigTypeDef sClockSourceConfig = {0};
  TIM_MasterConfigTypeDef sMasterConfig = {0};
  TIM_IC_InitTypeDef sConfigIC = {0};

  /*
   * APB1 timer clock = 90 MHz.
   * 90 MHz / (89 + 1) = 1 MHz, or 1 us per free-running count.
   */
  htim2.Instance = TIM2;
  htim2.Init.Prescaler = 89;
  htim2.Init.CounterMode = TIM_COUNTERMODE_UP;
  htim2.Init.Period = 0xFFFFFFFFU;
  htim2.Init.ClockDivision = TIM_CLOCKDIVISION_DIV1;
  htim2.Init.AutoReloadPreload = TIM_AUTORELOAD_PRELOAD_DISABLE;
  if (HAL_TIM_IC_Init(&htim2) != HAL_OK)
  {
    Error_Handler();
  }
  sClockSourceConfig.ClockSource = TIM_CLOCKSOURCE_INTERNAL;
  if (HAL_TIM_ConfigClockSource(&htim2, &sClockSourceConfig) != HAL_OK)
  {
    Error_Handler();
  }
  sMasterConfig.MasterOutputTrigger = TIM_TRGO_RESET;
  sMasterConfig.MasterSlaveMode = TIM_MASTERSLAVEMODE_DISABLE;
  if (HAL_TIMEx_MasterConfigSynchronization(&htim2, &sMasterConfig) != HAL_OK)
  {
    Error_Handler();
  }
  sConfigIC.ICPolarity = TIM_INPUTCHANNELPOLARITY_RISING;
  sConfigIC.ICSelection = TIM_ICSELECTION_DIRECTTI;
  sConfigIC.ICPrescaler = TIM_ICPSC_DIV1;
  sConfigIC.ICFilter = 0;
  if (HAL_TIM_IC_ConfigChannel(&htim2, &sConfigIC, TIM_CHANNEL_2) != HAL_OK)
  {
    Error_Handler();
  }

}

static void MX_TIM3_Init(void)
{

  TIM_ClockConfigTypeDef sClockSourceConfig = {0};
  TIM_MasterConfigTypeDef sMasterConfig = {0};
  TIM_OC_InitTypeDef sConfigOC = {0};

  htim3.Instance = TIM3;
  htim3.Init.Prescaler = 89;
  htim3.Init.CounterMode = TIM_COUNTERMODE_UP;
  htim3.Init.Period = 19999;
  htim3.Init.ClockDivision = TIM_CLOCKDIVISION_DIV1;
  htim3.Init.AutoReloadPreload = TIM_AUTORELOAD_PRELOAD_DISABLE;
  if (HAL_TIM_Base_Init(&htim3) != HAL_OK)
  {
    Error_Handler();
  }
  sClockSourceConfig.ClockSource = TIM_CLOCKSOURCE_INTERNAL;
  if (HAL_TIM_ConfigClockSource(&htim3, &sClockSourceConfig) != HAL_OK)
  {
    Error_Handler();
  }
  if (HAL_TIM_PWM_Init(&htim3) != HAL_OK)
  {
    Error_Handler();
  }
  sMasterConfig.MasterOutputTrigger = TIM_TRGO_RESET;
  sMasterConfig.MasterSlaveMode = TIM_MASTERSLAVEMODE_DISABLE;
  if (HAL_TIMEx_MasterConfigSynchronization(&htim3, &sMasterConfig) != HAL_OK)
  {
    Error_Handler();
  }
  sConfigOC.OCMode = TIM_OCMODE_PWM1;
  sConfigOC.Pulse = 1231;
  sConfigOC.OCPolarity = TIM_OCPOLARITY_HIGH;
  sConfigOC.OCFastMode = TIM_OCFAST_DISABLE;
  if (HAL_TIM_PWM_ConfigChannel(&htim3, &sConfigOC, TIM_CHANNEL_1) != HAL_OK)
  {
    Error_Handler();
  }
  HAL_TIM_MspPostInit(&htim3);

}

static void MX_TIM4_Init(void)
{

  TIM_Encoder_InitTypeDef sConfig = {0};
  TIM_MasterConfigTypeDef sMasterConfig = {0};

  htim4.Instance = TIM4;
  htim4.Init.Prescaler = 0;
  htim4.Init.CounterMode = TIM_COUNTERMODE_UP;
  htim4.Init.Period = 65535;
  htim4.Init.ClockDivision = TIM_CLOCKDIVISION_DIV1;
  htim4.Init.AutoReloadPreload = TIM_AUTORELOAD_PRELOAD_DISABLE;
  sConfig.EncoderMode = TIM_ENCODERMODE_TI12;
  sConfig.IC1Polarity = TIM_ICPOLARITY_RISING;
  sConfig.IC1Selection = TIM_ICSELECTION_DIRECTTI;
  sConfig.IC1Prescaler = TIM_ICPSC_DIV1;
  sConfig.IC1Filter = 0;
  sConfig.IC2Polarity = TIM_ICPOLARITY_RISING;
  sConfig.IC2Selection = TIM_ICSELECTION_DIRECTTI;
  sConfig.IC2Prescaler = TIM_ICPSC_DIV1;
  sConfig.IC2Filter = 0;
  if (HAL_TIM_Encoder_Init(&htim4, &sConfig) != HAL_OK)
  {
    Error_Handler();
  }
  sMasterConfig.MasterOutputTrigger = TIM_TRGO_RESET;
  sMasterConfig.MasterSlaveMode = TIM_MASTERSLAVEMODE_DISABLE;
  if (HAL_TIMEx_MasterConfigSynchronization(&htim4, &sMasterConfig) != HAL_OK)
  {
    Error_Handler();
  }

}

static void MX_TIM5_Init(void)
{

  TIM_ClockConfigTypeDef sClockSourceConfig = {0};
  TIM_MasterConfigTypeDef sMasterConfig = {0};
  TIM_OC_InitTypeDef sConfigOC = {0};

  /*
   * APB1 timer clock = 90 MHz.
   * 90 MHz / (8 + 1) / (499 + 1) = 20 kHz motor PWM.
   */
  htim5.Instance = TIM5;
  htim5.Init.Prescaler = 8;
  htim5.Init.CounterMode = TIM_COUNTERMODE_UP;
  htim5.Init.Period = 499;
  htim5.Init.ClockDivision = TIM_CLOCKDIVISION_DIV1;
  htim5.Init.AutoReloadPreload = TIM_AUTORELOAD_PRELOAD_DISABLE;
  if (HAL_TIM_Base_Init(&htim5) != HAL_OK)
  {
    Error_Handler();
  }
  sClockSourceConfig.ClockSource = TIM_CLOCKSOURCE_INTERNAL;
  if (HAL_TIM_ConfigClockSource(&htim5, &sClockSourceConfig) != HAL_OK)
  {
    Error_Handler();
  }
  if (HAL_TIM_PWM_Init(&htim5) != HAL_OK)
  {
    Error_Handler();
  }
  sMasterConfig.MasterOutputTrigger = TIM_TRGO_RESET;
  sMasterConfig.MasterSlaveMode = TIM_MASTERSLAVEMODE_DISABLE;
  if (HAL_TIMEx_MasterConfigSynchronization(&htim5, &sMasterConfig) != HAL_OK)
  {
    Error_Handler();
  }
  sConfigOC.OCMode = TIM_OCMODE_PWM1;
  sConfigOC.Pulse = 0;
  sConfigOC.OCPolarity = TIM_OCPOLARITY_HIGH;
  sConfigOC.OCFastMode = TIM_OCFAST_DISABLE;
  if (HAL_TIM_PWM_ConfigChannel(&htim5, &sConfigOC, TIM_CHANNEL_1) != HAL_OK)
  {
    Error_Handler();
  }
  if (HAL_TIM_PWM_ConfigChannel(&htim5, &sConfigOC, TIM_CHANNEL_4) != HAL_OK)
  {
    Error_Handler();
  }
  HAL_TIM_MspPostInit(&htim5);

}

static void MX_USART1_UART_Init(void)
{

  huart1.Instance = USART1;
  huart1.Init.BaudRate = 115200;
  huart1.Init.WordLength = UART_WORDLENGTH_8B;
  huart1.Init.StopBits = UART_STOPBITS_1;
  huart1.Init.Parity = UART_PARITY_NONE;
  huart1.Init.Mode = UART_MODE_TX_RX;
  huart1.Init.HwFlowCtl = UART_HWCONTROL_NONE;
  huart1.Init.OverSampling = UART_OVERSAMPLING_16;
  if (HAL_UART_Init(&huart1) != HAL_OK)
  {
    Error_Handler();
  }

}

static void MX_UART5_Init(void)
{

  huart5.Instance = UART5;
  huart5.Init.BaudRate = 115200;
  huart5.Init.WordLength = UART_WORDLENGTH_8B;
  huart5.Init.StopBits = UART_STOPBITS_1;
  huart5.Init.Parity = UART_PARITY_NONE;
  huart5.Init.Mode = UART_MODE_TX_RX;
  huart5.Init.HwFlowCtl = UART_HWCONTROL_NONE;
  huart5.Init.OverSampling = UART_OVERSAMPLING_16;
  if (HAL_UART_Init(&huart5) != HAL_OK)
  {
    Error_Handler();
  }

}

static void MX_DMA_Init(void)
{

  /* DMA controller clock enable */
  __HAL_RCC_DMA1_CLK_ENABLE();
  __HAL_RCC_DMA2_CLK_ENABLE();

  /* DMA interrupt init */
  /* DMA1_Stream0_IRQn interrupt configuration */
  HAL_NVIC_SetPriority(DMA1_Stream0_IRQn, 5, 0);
  HAL_NVIC_EnableIRQ(DMA1_Stream0_IRQn);
  /* DMA1_Stream7_IRQn interrupt configuration */
  HAL_NVIC_SetPriority(DMA1_Stream7_IRQn, 5, 0);
  HAL_NVIC_EnableIRQ(DMA1_Stream7_IRQn);
  /* DMA2_Stream2_IRQn interrupt configuration */
  HAL_NVIC_SetPriority(DMA2_Stream2_IRQn, 5, 0);
  HAL_NVIC_EnableIRQ(DMA2_Stream2_IRQn);
  /* DMA2_Stream7_IRQn interrupt configuration */
  HAL_NVIC_SetPriority(DMA2_Stream7_IRQn, 5, 0);
  HAL_NVIC_EnableIRQ(DMA2_Stream7_IRQn);

}

static void MX_GPIO_Init(void)
{
  GPIO_InitTypeDef GPIO_InitStruct = {0};

  /* GPIO Ports Clock Enable */
  __HAL_RCC_GPIOC_CLK_ENABLE();
  __HAL_RCC_GPIOF_CLK_ENABLE();
  __HAL_RCC_GPIOH_CLK_ENABLE();
  __HAL_RCC_GPIOA_CLK_ENABLE();
  __HAL_RCC_GPIOB_CLK_ENABLE();
  __HAL_RCC_GPIOG_CLK_ENABLE();
  __HAL_RCC_GPIOE_CLK_ENABLE();
  __HAL_RCC_GPIOD_CLK_ENABLE();

  /*Configure GPIO pin Output Level */
  HAL_GPIO_WritePin(GPIOC, CSX_Pin|OTG_FS_PSO_Pin, GPIO_PIN_RESET);

  /* Keep the on-board L3GD20 deselected while SPI5 is used by BNO085. */
  HAL_GPIO_WritePin(NCS_MEMS_SPI_GPIO_Port,
                    NCS_MEMS_SPI_Pin,
                    GPIO_PIN_SET);

  /* BNO085 is deselected and released from reset until ImuTask starts. */
  HAL_GPIO_WritePin(BNO085_CS_GPIO_Port, BNO085_CS_Pin, GPIO_PIN_SET);
  HAL_GPIO_WritePin(BNO085_RST_GPIO_Port, BNO085_RST_Pin, GPIO_PIN_SET);

  /*Configure GPIO pin Output Level */
  HAL_GPIO_WritePin(ACP_RST_GPIO_Port, ACP_RST_Pin, GPIO_PIN_RESET);

  /*Configure GPIO pin Output Level */
  HAL_GPIO_WritePin(ULTRASONIC_TRIG_GPIO_Port,
                    ULTRASONIC_TRIG_Pin,
                    GPIO_PIN_RESET);

  /*Configure GPIO pin Output Level */
  HAL_GPIO_WritePin(GPIOD, RDX_Pin|WRX_DCX_Pin, GPIO_PIN_RESET);

  /*Configure GPIO pin Output Level */
  HAL_GPIO_WritePin(GPIOG, LD3_Pin|LD4_Pin, GPIO_PIN_RESET);

  /*Configure GPIO pin Output Level */
  HAL_GPIO_WritePin(GPIOE, BTS_R_EN_Pin|BTS_L_EN_Pin, GPIO_PIN_RESET);

  /*Configure GPIO pins : A0_Pin A1_Pin A2_Pin A3_Pin
                           A4_Pin A5_Pin SDNRAS_Pin A6_Pin
                           A7_Pin A8_Pin A9_Pin */
  GPIO_InitStruct.Pin = A0_Pin|A1_Pin|A2_Pin|A3_Pin
                          |A4_Pin|A5_Pin|SDNRAS_Pin|A6_Pin
                          |A7_Pin|A8_Pin|A9_Pin;
  GPIO_InitStruct.Mode = GPIO_MODE_AF_PP;
  GPIO_InitStruct.Pull = GPIO_NOPULL;
  GPIO_InitStruct.Speed = GPIO_SPEED_FREQ_VERY_HIGH;
  GPIO_InitStruct.Alternate = GPIO_AF12_FMC;
  HAL_GPIO_Init(GPIOF, &GPIO_InitStruct);

  /*Configure GPIO pin : ENABLE_Pin */
  GPIO_InitStruct.Pin = ENABLE_Pin;
  GPIO_InitStruct.Mode = GPIO_MODE_AF_PP;
  GPIO_InitStruct.Pull = GPIO_NOPULL;
  GPIO_InitStruct.Speed = GPIO_SPEED_FREQ_LOW;
  GPIO_InitStruct.Alternate = GPIO_AF14_LTDC;
  HAL_GPIO_Init(ENABLE_GPIO_Port, &GPIO_InitStruct);

  /*Configure GPIO pin : SDNWE_Pin */
  GPIO_InitStruct.Pin = SDNWE_Pin;
  GPIO_InitStruct.Mode = GPIO_MODE_AF_PP;
  GPIO_InitStruct.Pull = GPIO_NOPULL;
  GPIO_InitStruct.Speed = GPIO_SPEED_FREQ_VERY_HIGH;
  GPIO_InitStruct.Alternate = GPIO_AF12_FMC;
  HAL_GPIO_Init(SDNWE_GPIO_Port, &GPIO_InitStruct);

  /*Configure GPIO pins : NCS_MEMS_SPI_Pin CSX_Pin OTG_FS_PSO_Pin */
  GPIO_InitStruct.Pin = NCS_MEMS_SPI_Pin|CSX_Pin|OTG_FS_PSO_Pin;
  GPIO_InitStruct.Mode = GPIO_MODE_OUTPUT_PP;
  GPIO_InitStruct.Pull = GPIO_NOPULL;
  GPIO_InitStruct.Speed = GPIO_SPEED_FREQ_LOW;
  HAL_GPIO_Init(GPIOC, &GPIO_InitStruct);

  /*Configure GPIO pin : BNO085_CS_Pin */
  GPIO_InitStruct.Pin = BNO085_CS_Pin;
  GPIO_InitStruct.Mode = GPIO_MODE_OUTPUT_PP;
  GPIO_InitStruct.Pull = GPIO_NOPULL;
  GPIO_InitStruct.Speed = GPIO_SPEED_FREQ_VERY_HIGH;
  HAL_GPIO_Init(BNO085_CS_GPIO_Port, &GPIO_InitStruct);

  /*Configure GPIO pin : BNO085_RST_Pin */
  GPIO_InitStruct.Pin = BNO085_RST_Pin;
  GPIO_InitStruct.Mode = GPIO_MODE_OUTPUT_PP;
  GPIO_InitStruct.Pull = GPIO_NOPULL;
  GPIO_InitStruct.Speed = GPIO_SPEED_FREQ_LOW;
  HAL_GPIO_Init(BNO085_RST_GPIO_Port, &GPIO_InitStruct);

  /*Configure GPIO pin : BNO085_INT_Pin */
  GPIO_InitStruct.Pin = BNO085_INT_Pin;
  GPIO_InitStruct.Mode = GPIO_MODE_IT_FALLING;
  GPIO_InitStruct.Pull = GPIO_PULLUP;
  HAL_GPIO_Init(BNO085_INT_GPIO_Port, &GPIO_InitStruct);

  /* EXTI3 interrupt init: ISR only wakes ImuTask; SPI runs in task context. */
  HAL_NVIC_SetPriority(EXTI3_IRQn, 6, 0);
  HAL_NVIC_EnableIRQ(EXTI3_IRQn);

  /*Configure GPIO pins : MEMS_INT2_Pin TP_INT1_Pin */
  GPIO_InitStruct.Pin = MEMS_INT2_Pin|TP_INT1_Pin;
  GPIO_InitStruct.Mode = GPIO_MODE_EVT_RISING;
  GPIO_InitStruct.Pull = GPIO_NOPULL;
  HAL_GPIO_Init(GPIOA, &GPIO_InitStruct);

  /*Configure GPIO pins : VSYNC_Pin R4_Pin R5_Pin */
  GPIO_InitStruct.Pin = VSYNC_Pin|R4_Pin|R5_Pin;
  GPIO_InitStruct.Mode = GPIO_MODE_AF_PP;
  GPIO_InitStruct.Pull = GPIO_NOPULL;
  GPIO_InitStruct.Speed = GPIO_SPEED_FREQ_LOW;
  GPIO_InitStruct.Alternate = GPIO_AF14_LTDC;
  HAL_GPIO_Init(GPIOA, &GPIO_InitStruct);

  /*Configure GPIO pin : ACP_RST_Pin */
  GPIO_InitStruct.Pin = ACP_RST_Pin;
  GPIO_InitStruct.Mode = GPIO_MODE_OUTPUT_PP;
  GPIO_InitStruct.Pull = GPIO_NOPULL;
  GPIO_InitStruct.Speed = GPIO_SPEED_FREQ_LOW;
  HAL_GPIO_Init(ACP_RST_GPIO_Port, &GPIO_InitStruct);

  /*Configure GPIO pin : ULTRASONIC_TRIG_Pin */
  GPIO_InitStruct.Pin = ULTRASONIC_TRIG_Pin;
  GPIO_InitStruct.Mode = GPIO_MODE_OUTPUT_PP;
  GPIO_InitStruct.Pull = GPIO_NOPULL;
  GPIO_InitStruct.Speed = GPIO_SPEED_FREQ_LOW;
  HAL_GPIO_Init(ULTRASONIC_TRIG_GPIO_Port, &GPIO_InitStruct);

  /*Configure GPIO pin : OTG_FS_OC_Pin */
  GPIO_InitStruct.Pin = OTG_FS_OC_Pin;
  GPIO_InitStruct.Mode = GPIO_MODE_EVT_RISING;
  GPIO_InitStruct.Pull = GPIO_NOPULL;
  HAL_GPIO_Init(OTG_FS_OC_GPIO_Port, &GPIO_InitStruct);

  /*Configure GPIO pins : R3_Pin R6_Pin */
  GPIO_InitStruct.Pin = R3_Pin|R6_Pin;
  GPIO_InitStruct.Mode = GPIO_MODE_AF_PP;
  GPIO_InitStruct.Pull = GPIO_NOPULL;
  GPIO_InitStruct.Speed = GPIO_SPEED_FREQ_LOW;
  GPIO_InitStruct.Alternate = GPIO_AF9_LTDC;
  HAL_GPIO_Init(GPIOB, &GPIO_InitStruct);

  /*Configure GPIO pin : BOOT1_Pin */
  GPIO_InitStruct.Pin = BOOT1_Pin;
  GPIO_InitStruct.Mode = GPIO_MODE_INPUT;
  GPIO_InitStruct.Pull = GPIO_NOPULL;
  HAL_GPIO_Init(BOOT1_GPIO_Port, &GPIO_InitStruct);

  /*Configure GPIO pins : A10_Pin A11_Pin BA0_Pin BA1_Pin
                           SDCLK_Pin SDNCAS_Pin */
  GPIO_InitStruct.Pin = A10_Pin|A11_Pin|BA0_Pin|BA1_Pin
                          |SDCLK_Pin|SDNCAS_Pin;
  GPIO_InitStruct.Mode = GPIO_MODE_AF_PP;
  GPIO_InitStruct.Pull = GPIO_NOPULL;
  GPIO_InitStruct.Speed = GPIO_SPEED_FREQ_VERY_HIGH;
  GPIO_InitStruct.Alternate = GPIO_AF12_FMC;
  HAL_GPIO_Init(GPIOG, &GPIO_InitStruct);

  /*Configure GPIO pins : D4_Pin D5_Pin D6_Pin D7_Pin
                           D8_Pin D9_Pin D10_Pin D11_Pin
                           D12_Pin NBL0_Pin NBL1_Pin */
  GPIO_InitStruct.Pin = D4_Pin|D5_Pin|D6_Pin|D7_Pin
                          |D8_Pin|D9_Pin|D10_Pin|D11_Pin
                          |D12_Pin|NBL0_Pin|NBL1_Pin;
  GPIO_InitStruct.Mode = GPIO_MODE_AF_PP;
  GPIO_InitStruct.Pull = GPIO_NOPULL;
  GPIO_InitStruct.Speed = GPIO_SPEED_FREQ_VERY_HIGH;
  GPIO_InitStruct.Alternate = GPIO_AF12_FMC;
  HAL_GPIO_Init(GPIOE, &GPIO_InitStruct);

  /*Configure GPIO pins : G4_Pin G5_Pin B6_Pin B7_Pin */
  GPIO_InitStruct.Pin = G4_Pin|G5_Pin|B6_Pin|B7_Pin;
  GPIO_InitStruct.Mode = GPIO_MODE_AF_PP;
  GPIO_InitStruct.Pull = GPIO_NOPULL;
  GPIO_InitStruct.Speed = GPIO_SPEED_FREQ_LOW;
  GPIO_InitStruct.Alternate = GPIO_AF14_LTDC;
  HAL_GPIO_Init(GPIOB, &GPIO_InitStruct);

  /*Configure GPIO pins : OTG_HS_ID_Pin OTG_HS_DM_Pin OTG_HS_DP_Pin */
  GPIO_InitStruct.Pin = OTG_HS_ID_Pin|OTG_HS_DM_Pin|OTG_HS_DP_Pin;
  GPIO_InitStruct.Mode = GPIO_MODE_AF_PP;
  GPIO_InitStruct.Pull = GPIO_NOPULL;
  GPIO_InitStruct.Speed = GPIO_SPEED_FREQ_LOW;
  GPIO_InitStruct.Alternate = GPIO_AF12_OTG_HS_FS;
  HAL_GPIO_Init(GPIOB, &GPIO_InitStruct);

  /*Configure GPIO pin : VBUS_HS_Pin */
  GPIO_InitStruct.Pin = VBUS_HS_Pin;
  GPIO_InitStruct.Mode = GPIO_MODE_INPUT;
  GPIO_InitStruct.Pull = GPIO_NOPULL;
  HAL_GPIO_Init(VBUS_HS_GPIO_Port, &GPIO_InitStruct);

  /*Configure GPIO pins : D13_Pin D14_Pin D15_Pin D0_Pin
                           D1_Pin D2_Pin D3_Pin */
  GPIO_InitStruct.Pin = D13_Pin|D14_Pin|D15_Pin|D0_Pin
                          |D1_Pin|D2_Pin|D3_Pin;
  GPIO_InitStruct.Mode = GPIO_MODE_AF_PP;
  GPIO_InitStruct.Pull = GPIO_NOPULL;
  GPIO_InitStruct.Speed = GPIO_SPEED_FREQ_VERY_HIGH;
  GPIO_InitStruct.Alternate = GPIO_AF12_FMC;
  HAL_GPIO_Init(GPIOD, &GPIO_InitStruct);

  /*Configure GPIO pin : TE_Pin */
  GPIO_InitStruct.Pin = TE_Pin;
  GPIO_InitStruct.Mode = GPIO_MODE_INPUT;
  GPIO_InitStruct.Pull = GPIO_NOPULL;
  HAL_GPIO_Init(TE_GPIO_Port, &GPIO_InitStruct);

  /*Configure GPIO pins : RDX_Pin WRX_DCX_Pin */
  GPIO_InitStruct.Pin = RDX_Pin|WRX_DCX_Pin;
  GPIO_InitStruct.Mode = GPIO_MODE_OUTPUT_PP;
  GPIO_InitStruct.Pull = GPIO_NOPULL;
  GPIO_InitStruct.Speed = GPIO_SPEED_FREQ_LOW;
  HAL_GPIO_Init(GPIOD, &GPIO_InitStruct);

  /*Configure GPIO pins : R7_Pin DOTCLK_Pin B3_Pin */
  GPIO_InitStruct.Pin = R7_Pin|DOTCLK_Pin|B3_Pin;
  GPIO_InitStruct.Mode = GPIO_MODE_AF_PP;
  GPIO_InitStruct.Pull = GPIO_NOPULL;
  GPIO_InitStruct.Speed = GPIO_SPEED_FREQ_LOW;
  GPIO_InitStruct.Alternate = GPIO_AF14_LTDC;
  HAL_GPIO_Init(GPIOG, &GPIO_InitStruct);

  /*Configure GPIO pins : HSYNC_Pin G6_Pin R2_Pin */
  GPIO_InitStruct.Pin = HSYNC_Pin|G6_Pin|R2_Pin;
  GPIO_InitStruct.Mode = GPIO_MODE_AF_PP;
  GPIO_InitStruct.Pull = GPIO_NOPULL;
  GPIO_InitStruct.Speed = GPIO_SPEED_FREQ_LOW;
  GPIO_InitStruct.Alternate = GPIO_AF14_LTDC;
  HAL_GPIO_Init(GPIOC, &GPIO_InitStruct);

  /*Configure GPIO pin : I2C3_SDA_Pin */
  GPIO_InitStruct.Pin = I2C3_SDA_Pin;
  GPIO_InitStruct.Mode = GPIO_MODE_AF_OD;
  GPIO_InitStruct.Pull = GPIO_NOPULL;
  GPIO_InitStruct.Speed = GPIO_SPEED_FREQ_LOW;
  GPIO_InitStruct.Alternate = GPIO_AF4_I2C3;
  HAL_GPIO_Init(I2C3_SDA_GPIO_Port, &GPIO_InitStruct);

  /*Configure GPIO pin : I2C3_SCL_Pin */
  GPIO_InitStruct.Pin = I2C3_SCL_Pin;
  GPIO_InitStruct.Mode = GPIO_MODE_AF_OD;
  GPIO_InitStruct.Pull = GPIO_NOPULL;
  GPIO_InitStruct.Speed = GPIO_SPEED_FREQ_LOW;
  GPIO_InitStruct.Alternate = GPIO_AF4_I2C3;
  HAL_GPIO_Init(I2C3_SCL_GPIO_Port, &GPIO_InitStruct);

  /*Configure GPIO pins : G7_Pin B2_Pin */
  GPIO_InitStruct.Pin = G7_Pin|B2_Pin;
  GPIO_InitStruct.Mode = GPIO_MODE_AF_PP;
  GPIO_InitStruct.Pull = GPIO_NOPULL;
  GPIO_InitStruct.Speed = GPIO_SPEED_FREQ_LOW;
  GPIO_InitStruct.Alternate = GPIO_AF14_LTDC;
  HAL_GPIO_Init(GPIOD, &GPIO_InitStruct);

  /*Configure GPIO pins : G3_Pin B4_Pin */
  GPIO_InitStruct.Pin = G3_Pin|B4_Pin;
  GPIO_InitStruct.Mode = GPIO_MODE_AF_PP;
  GPIO_InitStruct.Pull = GPIO_NOPULL;
  GPIO_InitStruct.Speed = GPIO_SPEED_FREQ_LOW;
  GPIO_InitStruct.Alternate = GPIO_AF9_LTDC;
  HAL_GPIO_Init(GPIOG, &GPIO_InitStruct);

  /*Configure GPIO pins : LD3_Pin LD4_Pin */
  GPIO_InitStruct.Pin = LD3_Pin|LD4_Pin;
  GPIO_InitStruct.Mode = GPIO_MODE_OUTPUT_PP;
  GPIO_InitStruct.Pull = GPIO_NOPULL;
  GPIO_InitStruct.Speed = GPIO_SPEED_FREQ_LOW;
  HAL_GPIO_Init(GPIOG, &GPIO_InitStruct);

  /*Configure GPIO pin : SDCKE1_Pin */
  GPIO_InitStruct.Pin = SDCKE1_Pin;
  GPIO_InitStruct.Mode = GPIO_MODE_AF_PP;
  GPIO_InitStruct.Pull = GPIO_NOPULL;
  GPIO_InitStruct.Speed = GPIO_SPEED_FREQ_VERY_HIGH;
  GPIO_InitStruct.Alternate = GPIO_AF12_FMC;
  HAL_GPIO_Init(SDCKE1_GPIO_Port, &GPIO_InitStruct);

  /*Configure GPIO pins : BTS_R_EN_Pin BTS_L_EN_Pin */
  GPIO_InitStruct.Pin = BTS_R_EN_Pin|BTS_L_EN_Pin;
  GPIO_InitStruct.Mode = GPIO_MODE_OUTPUT_PP;
  GPIO_InitStruct.Pull = GPIO_NOPULL;
  GPIO_InitStruct.Speed = GPIO_SPEED_FREQ_LOW;
  HAL_GPIO_Init(GPIOE, &GPIO_InitStruct);

}

/* USER CODE BEGIN 4 */
void HAL_UARTEx_RxEventCallback(UART_HandleTypeDef *huart, uint16_t Size)
{
  CommService_OnUartRxEvent(huart, Size);
}

void HAL_UART_TxCpltCallback(UART_HandleTypeDef *huart)
{
  CommService_OnUartTxComplete(huart);
}

void HAL_UART_ErrorCallback(UART_HandleTypeDef *huart)
{
  CommService_OnUartError(huart);
}

void HAL_GPIO_EXTI_Callback(uint16_t GPIO_Pin)
{
  if (GPIO_Pin == BNO085_INT_Pin)
  {
    ImuTask_OnDataReadyInterrupt();
  }
}

void HAL_TIM_IC_CaptureCallback(TIM_HandleTypeDef *htim)
{
  if ((htim->Instance == TIM2) &&
      (htim->Channel == HAL_TIM_ACTIVE_CHANNEL_2))
  {
    Ultrasonic_OnInputCapture();
  }
}

/* USER CODE END 4 */

void StartDefaultTask(void *argument)
{
  /* USER CODE BEGIN 5 */
  /* Infinite loop */
  for(;;)
  {
    osDelay(1000);
  }
  /* USER CODE END 5 */
}

void HAL_TIM_PeriodElapsedCallback(TIM_HandleTypeDef *htim)
{
  if (htim->Instance == TIM6)
  {
    HAL_IncTick();
  }
}

void Error_Handler(void)
{
  __disable_irq();
  while (1)
  {
  }
}
